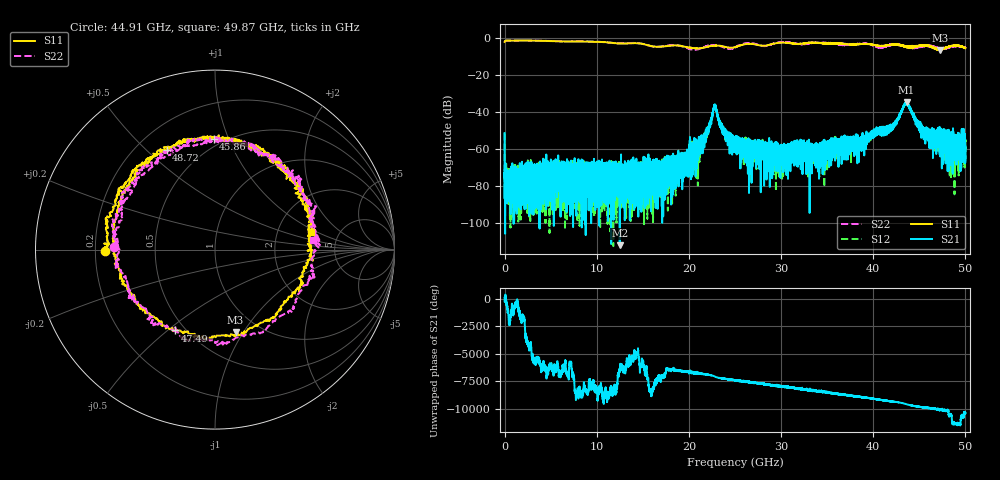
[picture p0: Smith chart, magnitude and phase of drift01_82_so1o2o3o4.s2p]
!Created with skrf (http://scikit-rf.org).
# Hz S RI R 50.0
!freq ReS11 ImS11 ReS21 ImS21 ReS12 ImS12 ReS22 ImS22
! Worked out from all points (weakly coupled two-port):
!   10001 points, 300 kHz to 50 GHz, reference 50 ohm
!   highest |S21| = -34.69 dB at 43.62 GHz (marker M1); lowest = -111.8 dB at 12.5 GHz (marker M2)
!   lowest |S11| = -6.4 dB at 47.21 GHz (marker M3), VSWR 2.82, Z = 38.8 - j46.3 ohm
!   |S11| at or under -10 dB: nowhere
!   |S22| runs from -6.4 to -1.4 dB; largest |S21 - S12| = 0.0035
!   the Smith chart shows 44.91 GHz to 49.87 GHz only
!   S11 on the Smith chart (normalised r, x): 44.91 GHz: 0.24, -0.01; 45.86 GHz: 0.44, +0.88; 47.49 GHz: 0.44, -0.53; 48.72 GHz: 0.32, +0.58; 49.87 GHz: 3.13, +0.88
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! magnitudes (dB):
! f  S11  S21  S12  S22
! 300 kHz  -2.2  -51.3  -51.4  -2.1
! 255.3 MHz  -1.4  -73.2  -77.5  -1.4
! 425.3 MHz  -1.4  -73.9  -83.0  -1.4
! 8.335 GHz  -1.9  -68.0  -84.6  -1.8
! 12.5 GHz  -3.0  -111.8  -80.1  -2.9
! 16.67 GHz  -4.8  -73.2  -71.3  -4.8
! 20.96 GHz  -5.6  -56.6  -57.0  -6.1
! 21.66 GHz  -5.2  -53.2  -54.2  -5.0
! 22.8 GHz  -4.3  -36.0  -36.3  -4.0
! 23.76 GHz  -4.6  -49.2  -49.3  -5.1
! 25 GHz  -5.0  -55.4  -56.6  -5.0
! 29.81 GHz  -2.6  -63.1  -63.0  -2.4
! 33.34 GHz  -2.6  -62.7  -61.8  -2.7
! 41.67 GHz  -3.8  -49.3  -49.8  -3.9
! 43.62 GHz  -5.0  -34.7  -34.9  -4.8
! 44.91 GHz  -4.2  -46.1  -46.7  -5.0
! 45.86 GHz  -4.2  -48.5  -52.3  -4.3
! 47.21 GHz  -6.4  -63.0  -57.2  -5.7
! 47.49 GHz  -6.0  -54.7  -57.1  -5.5
! 48.72 GHz  -4.2  -58.3  -62.7  -4.6
! 49.87 GHz  -5.3  -61.1  -56.7  -5.2
! 50 GHz  -5.4  -59.1  -59.8  -5.2
